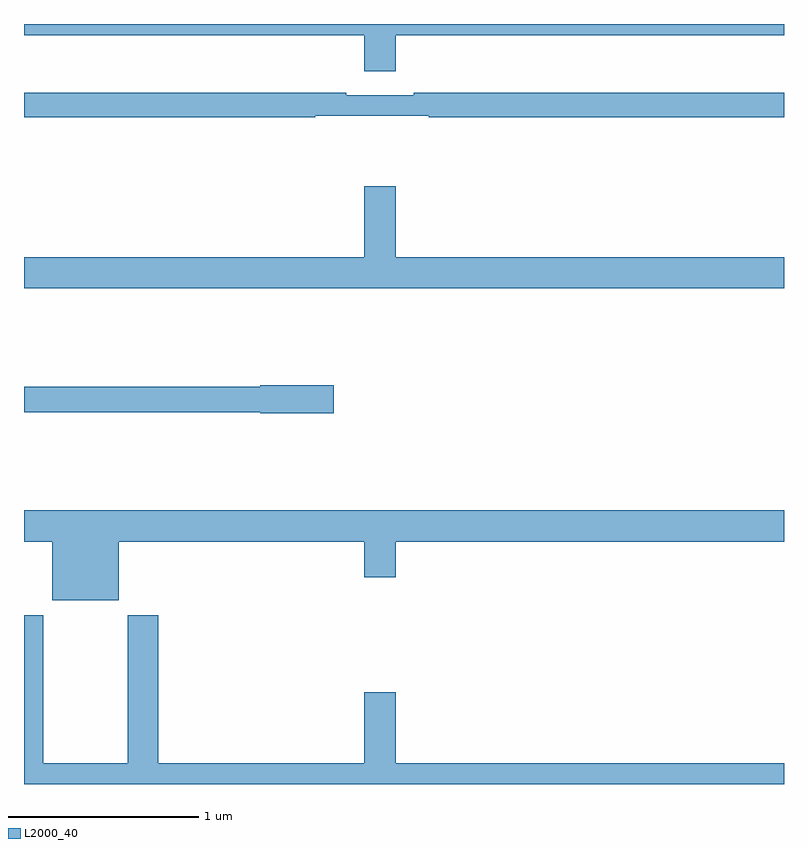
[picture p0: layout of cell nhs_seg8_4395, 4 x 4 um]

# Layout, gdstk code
import gdstk
lib = gdstk.Library(unit=1e-6, precision=1e-09)
def P(c, l, *ps):  # polygons
    for p in ps: c.add(gdstk.Polygon(p, *l))
L2000_40 = (2000, 40)

nhs_seg8_4395 = lib.new_cell('nhs_seg8_4395')
P(nhs_seg8_4395, L2000_40, [(383,1109.9),(379,1109.9),(379,1109.84),(380.792,1109.84),(380.792,1109.652),(380.956,1109.652),(380.956,1109.84),(383,1109.84)],
  [(380.532,1109.418),(381.13,1109.418),(381.13,1109.41),(383,1109.41),(383,1109.539),(381.052,1109.539),(381.052,1109.526),(380.696,1109.526),(380.696,1109.539),(379,1109.539),(379,1109.41),(380.532,1109.41)],
  [(383,1108.672),(380.956,1108.672),(380.956,1109.047),(380.792,1109.047),(380.792,1108.672),(379,1108.672),(379,1108.508),(383,1108.508)],
  [(380.629,1107.998),(380.244,1107.998),(380.244,1107.992),(379,1107.992),(379,1107.856),(380.244,1107.856),(380.244,1107.851),(380.629,1107.851)],
  [(379.498,1107.176),(380.792,1107.176),(380.792,1106.988),(380.956,1106.988),(380.956,1107.176),(383,1107.176),(383,1107.34),(379,1107.34),(379,1107.176),(379.148,1107.176),(379.148,1106.867),(379.498,1106.867)],
  [(383,1106.008),(380.956,1106.008),(380.956,1106.383),(380.792,1106.383),(380.792,1106.008),(379.706,1106.008),(379.706,1106.788),(379.546,1106.788),(379.546,1106.008),(379.101,1106.008),(379.101,1106.788),(379,1106.788),(379,1105.9),(383,1105.9)])

lib.write_gds('nhs_seg8_4395.gds')
